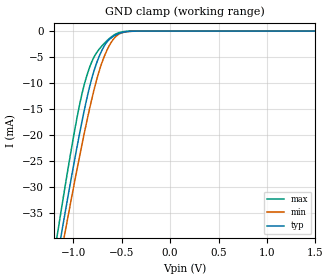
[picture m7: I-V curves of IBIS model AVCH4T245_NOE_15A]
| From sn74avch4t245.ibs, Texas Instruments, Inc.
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[Model]   AVCH4T245_NOE_15A
Model_type  Input
Vinl=0.49
Vinh=1.04
| variable   typ   min   max
C_comp   2.90pF   2.45pF   3.35pF
[Temperature Range]   40   100   -40
| Ambient temperature   25   85   -40
[Voltage range]   1.5   1.4   1.6
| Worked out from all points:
|   GND clamp passes 1 mA (typ) near -0.58 V on its own axis
[GND Clamp]
| AVCH4T245_NOE_15A
|   Voltage   I(typ)   I(min)   I(max)
-4.6V     -459.2mA   -437.9mA   -484.2mA
-1.175V   -44.87mA   -48.03mA   -40.53mA
-1.145V   -41.6mA    -44.95mA   -37mA
-1.12V    -38.89mA   -42.4mA    -34.09mA
-1.095V   -36.21mA   -39.87mA   -31.21mA
-1.07V    -33.55mA   -37.35mA   -28.36mA
-945mV    -20.79mA   -25.16mA   -15.18mA
-840mV    -11.44mA   -15.71mA   -7.485mA
-775mV    -7.058mA   -10.58mA   -4.657mA
-700mV    -3.56mA    -5.9mA     -2.784mA
-545mV    -612.9uA   -811.6uA   -423.5uA
1.5V      118pA      793.8pA    21.88pA
